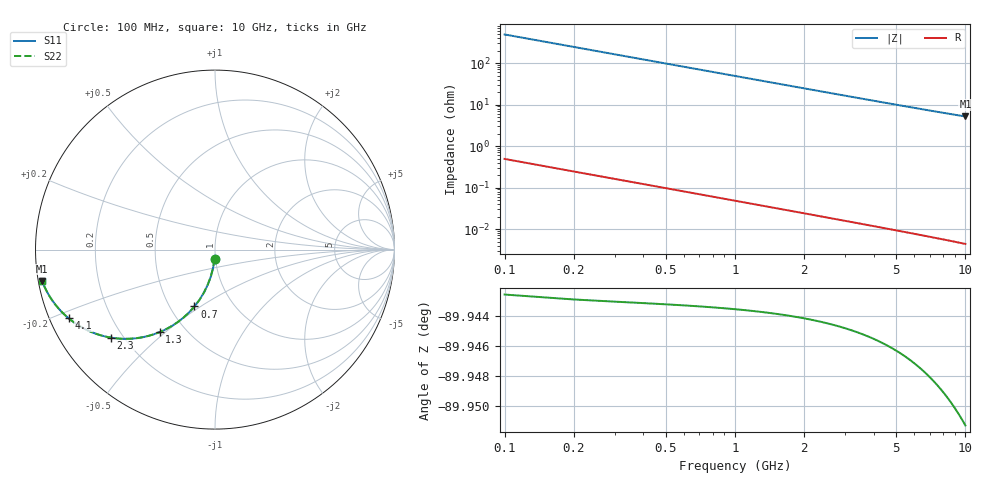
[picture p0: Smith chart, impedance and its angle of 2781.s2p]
# Hz S RI R 50.00
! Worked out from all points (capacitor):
!   100 points, 100 MHz to 10 GHz, reference 50 ohm
!   read as one part in shunt: C = 3.27 pF near 100 MHz
!   lowest |Z| = 5.14 ohm at 10 GHz (marker M1)
!   S11 on the Smith chart (normalised r, x): 100 MHz: 0.99, -0.10; 700 MHz: 0.66, -0.47; 1.3 GHz: 0.36, -0.48; 2.3 GHz: 0.15, -0.36; 4.1 GHz: 0.06, -0.22; 10 GHz: 0.01, -0.09
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1e8  -0.00265 -0.051  0.9973 -0.0513  0.9973 -0.0513  -0.00265 -0.051
2e8  -0.0105 -0.1013  0.9895 -0.1017  0.9895 -0.1017  -0.0105 -0.1013
3e8  -0.0232 -0.1499  0.9767 -0.1506  0.9767 -0.1506  -0.0232 -0.1499
4e8  -0.0405 -0.1963  0.9594 -0.1973  0.9594 -0.1973  -0.0405 -0.1963
5e8  -0.0619 -0.2399  0.9381 -0.2411  0.9381 -0.2411  -0.0619 -0.2399
6e8  -0.0867 -0.2802  0.9132 -0.2816  0.9132 -0.2816  -0.0867 -0.2802
7e8  -0.1144 -0.317  0.8856 -0.3186  0.8856 -0.3186  -0.1144 -0.317
8e8  -0.1443 -0.35  0.8557 -0.3518  0.8557 -0.3518  -0.1443 -0.35
1e9  -0.2083 -0.4045  0.7916 -0.4068  0.7916 -0.4068  -0.2083 -0.4045
1.3e9  -0.3076 -0.4595  0.6923 -0.4625  0.6923 -0.4625  -0.3076 -0.4595
1.5e9  -0.3715 -0.481  0.6284 -0.4845  0.6284 -0.4845  -0.3715 -0.481
1.8e9  -0.4596 -0.4958  0.5403 -0.5  0.5403 -0.5  -0.4596 -0.4958
2e9  -0.5121 -0.497  0.4879 -0.5017  0.4879 -0.5017  -0.5121 -0.497
2.3e9  -0.5811 -0.4902  0.4189 -0.4956  0.4189 -0.4956  -0.5811 -0.4902
2.8e9  -0.6725 -0.4655  0.3274 -0.4721  0.3274 -0.4721  -0.6725 -0.4655
3.4e9  -0.7515 -0.4276  0.2484 -0.4356  0.2484 -0.4356  -0.7515 -0.4276
4.1e9  -0.8147 -0.3832  0.1852 -0.3929  0.1852 -0.3929  -0.8147 -0.3832
5.1e9  -0.8718 -0.3277  0.1281 -0.3398  0.1281 -0.3398  -0.8718 -0.3277
5.8e9  -0.8979 -0.2952  0.1019 -0.3091  0.1019 -0.3091  -0.8979 -0.2952
6.7e9  -0.9216 -0.2601  0.0782 -0.2762  0.0782 -0.2762  -0.9216 -0.2601
8.4e9  -0.9488 -0.2093  0.0509 -0.2297  0.0509 -0.2297  -0.9488 -0.2093
1e10  -0.9635 -0.1741  0.0361 -0.1987  0.0361 -0.1987  -0.9635 -0.1741
